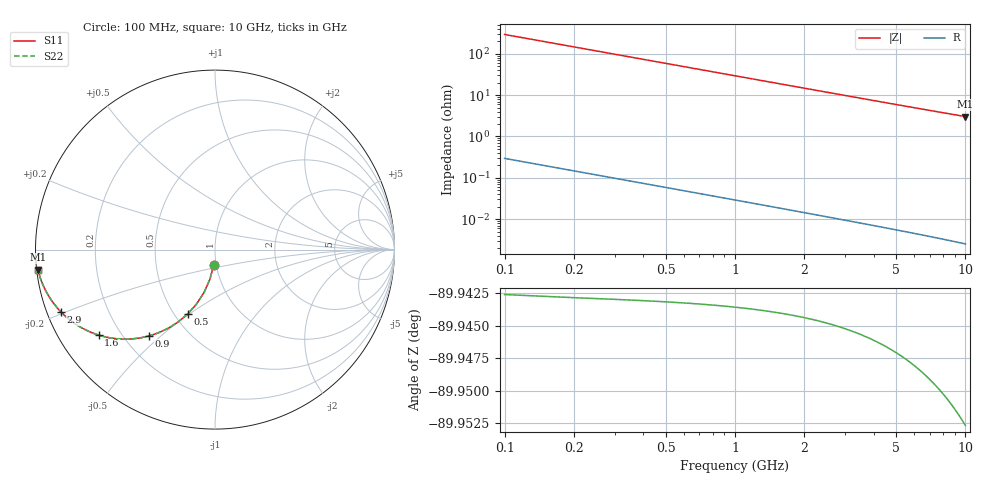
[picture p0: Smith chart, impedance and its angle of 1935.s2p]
# Hz S RI R 50.00
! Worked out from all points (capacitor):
!   100 points, 100 MHz to 10 GHz, reference 50 ohm
!   read as one part in shunt: C = 5.4 pF near 100 MHz
!   lowest |Z| = 3.04 ohm at 10 GHz (marker M1)
!   S11 on the Smith chart (normalised r, x): 100 MHz: 0.97, -0.16; 500 MHz: 0.58, -0.49; 900 MHz: 0.30, -0.46; 1.6 GHz: 0.12, -0.32; 2.9 GHz: 0.04, -0.19; 10 GHz: 0.00, -0.06
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1e8  -0.00721 -0.0842  0.9927 -0.0843  0.9927 -0.0843  -0.00721 -0.0842
2e8  -0.0281 -0.1648  0.9718 -0.1649  0.9718 -0.1649  -0.0281 -0.1648
3e8  -0.061 -0.2388  0.9389 -0.239  0.9389 -0.239  -0.061 -0.2388
4e8  -0.1035 -0.3039  0.8965 -0.3043  0.8965 -0.3043  -0.1035 -0.3039
5e8  -0.1527 -0.359  0.8473 -0.3594  0.8473 -0.3594  -0.1527 -0.359
6e8  -0.206 -0.4037  0.794 -0.4042  0.794 -0.4042  -0.206 -0.4037
7e8  -0.2608 -0.4383  0.7391 -0.4389  0.7391 -0.4389  -0.2608 -0.4383
9e8  -0.3683 -0.4815  0.6317 -0.4822  0.6317 -0.4822  -0.3683 -0.4815
1e9  -0.4184 -0.4924  0.5815 -0.4932  0.5815 -0.4932  -0.4184 -0.4924
1.2e9  -0.5087 -0.4989  0.4912 -0.4999  0.4912 -0.4999  -0.5087 -0.4989
1.4e9  -0.5849 -0.4917  0.4151 -0.4928  0.4151 -0.4928  -0.5849 -0.4917
1.6e9  -0.6478 -0.4765  0.3521 -0.4778  0.3521 -0.4778  -0.6478 -0.4765
1.8e9  -0.6995 -0.4573  0.3005 -0.4587  0.3005 -0.4587  -0.6995 -0.4573
2e9  -0.7417 -0.4364  0.2582 -0.438  0.2582 -0.438  -0.7417 -0.4364
2.3e9  -0.7915 -0.4048  0.2084 -0.4066  0.2084 -0.4066  -0.7915 -0.4048
2.9e9  -0.8578 -0.3476  0.1422 -0.3499  0.1422 -0.3499  -0.8578 -0.3476
3.4e9  -0.8923 -0.3081  0.1077 -0.3108  0.1077 -0.3108  -0.8923 -0.3081
4.2e9  -0.9266 -0.2585  0.0733 -0.2619  0.0733 -0.2619  -0.9266 -0.2585
5.1e9  -0.949 -0.2174  0.051 -0.2215  0.051 -0.2215  -0.949 -0.2174
6.7e9  -0.9698 -0.1679  0.0302 -0.1733  0.0302 -0.1733  -0.9698 -0.1679
8.4e9  -0.9806 -0.1339  0.0194 -0.1408  0.0194 -0.1408  -0.9806 -0.1339
1e10  -0.9862 -0.1117  0.0137 -0.1199  0.0137 -0.1199  -0.9862 -0.1117
